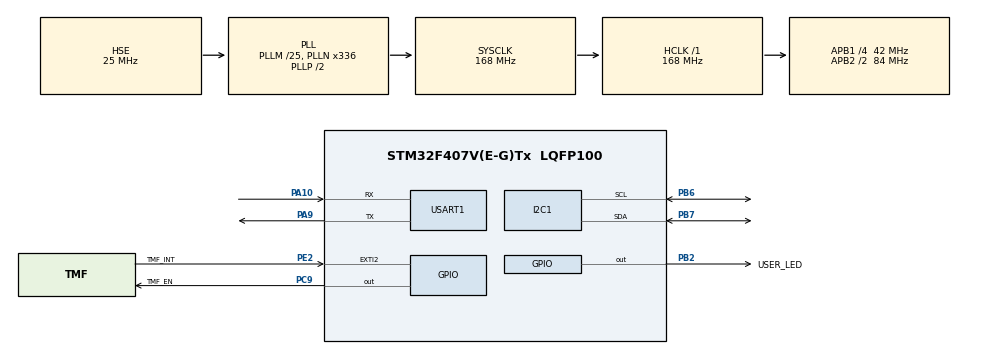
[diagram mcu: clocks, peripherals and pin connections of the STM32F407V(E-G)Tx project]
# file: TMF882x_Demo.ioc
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Mcu.Family=STM32F4
Mcu.Name=STM32F407V(E-G)Tx
Mcu.Package=LQFP100
NVIC.EXTI2_IRQn=true\:0\:0\:false\:false\:true\:true\:true\:true
NVIC.PriorityGroup=NVIC_PRIORITYGROUP_4
NVIC.TIM7_IRQn=true\:1\:0\:true\:false\:true\:true\:true\:true
PA10.Mode=Asynchronous
PA10.Signal=USART1_RX
PA13.Mode=Serial_Wire
PA13.Signal=SYS_JTMS-SWDIO
PA14.Mode=Serial_Wire
PA14.Signal=SYS_JTCK-SWCLK
PA9.Mode=Asynchronous
PA9.Signal=USART1_TX
PB2.GPIO_Label=USER_LED
PB2.Signal=GPIO_Output
PB6.Mode=I2C
PB6.Signal=I2C1_SCL
PB7.Mode=I2C
PB7.Signal=I2C1_SDA
PC9.GPIO_Label=TMF_EN
PC9.Signal=GPIO_Output
PE2.GPIO_Label=TMF_INT
PE2.GPIO_ModeDefaultEXTI=GPIO_MODE_IT_FALLING
PE2.GPIO_PuPd=GPIO_PULLUP
PE2.Signal=GPXTI2
PH0-OSC_IN.Mode=HSE-External-Oscillator
PH0-OSC_IN.Signal=RCC_OSC_IN
PH1-OSC_OUT.Mode=HSE-External-Oscillator
PH1-OSC_OUT.Signal=RCC_OSC_OUT
ProjectManager.HeapSize=0x200
ProjectManager.StackSize=0x400
ProjectManager.TargetToolchain=MDK-ARM V5
RCC.48MHZClocksFreq_Value=84000000
RCC.AHBFreq_Value=168000000
RCC.APB1CLKDivider=RCC_HCLK_DIV4
RCC.APB1Freq_Value=42000000
RCC.APB1TimFreq_Value=84000000
RCC.APB2CLKDivider=RCC_HCLK_DIV2
RCC.APB2Freq_Value=84000000
RCC.APB2TimFreq_Value=168000000
RCC.CortexFreq_Value=168000000
RCC.HCLKFreq_Value=168000000
RCC.HSE_VALUE=25000000
RCC.HSI_VALUE=16000000
RCC.LSE_VALUE=32768
RCC.PLLM=25
RCC.PLLN=336
RCC.PLLSourceVirtual=RCC_PLLSOURCE_HSE
RCC.SYSCLKFreq_VALUE=168000000
RCC.SYSCLKSource=RCC_SYSCLKSOURCE_PLLCLK
RCC.VCOOutputFreq_Value=336000000
TIM7.Period=99
TIM7.Prescaler=168
USART1.VirtualMode=VM_ASYNC
VP_TIM7_VS_ClockSourceINT.Mode=Enable_Timer
board=custom

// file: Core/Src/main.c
/* USER CODE BEGIN Header */
/**
  ******************************************************************************
  * @file           : main.c
  * @brief          : Main program body
  ******************************************************************************
  * @attention
  *
  * Copyright (c) 2025 STMicroelectronics.
  * All rights reserved.
  *
  * This software is licensed under terms that can be found in the LICENSE file
  * in the root directory of this software component.
  * If no LICENSE file comes with this software, it is provided AS-IS.
  *
  ******************************************************************************
  */
/* USER CODE END Header */
#include "main.h"
#include "i2c.h"
#include "tim.h"
#include "usart.h"
#include "gpio.h"

/* USER CODE BEGIN Includes */
#include "M_File_Flag.h"
/* USER CODE END Includes */

void SystemClock_Config(void);

int main(void)
{

  /* MCU Configuration--------------------------------------------------------*/

  /* Reset of all peripherals, Initializes the Flash interface and the Systick. */
  HAL_Init();

  /* Configure the system clock */
  SystemClock_Config();

  /* Initialize all configured peripherals */
  MX_GPIO_Init();
  MX_I2C1_Init();
  MX_TIM7_Init();
  MX_USART1_UART_Init();
  /* USER CODE BEGIN 2 */
  memset((void*)&systemTim,0,sizeof(System_Tim_Flag));
  HAL_TIM_Base_Start_IT(&htim7);
  TMF882x_Init();
  /* USER CODE END 2 */

  /* Infinite loop */
  /* USER CODE BEGIN WHILE */
  while (1)
  {
    if(systemTim.system_1ms == ON)
	  {

		 systemTim.system_1ms = OFF;
	  }
	  if(systemTim.system_10ms == ON)
	  {
		 systemTim.system_10ms = OFF;
		  read_measurement_results();
		  // TMF882x_Read();

	  }
	  if(systemTim.system_100ms == ON)
	  {

		 systemTim.system_100ms = OFF;
	  }

	  if(systemTim.system_500ms == ON)
	  {
		  systemTim.system_500ms = OFF;
		  HAL_Delay(6);
		  //readappid();
		  HAL_GPIO_TogglePin(USER_LED_GPIO_Port,USER_LED_Pin);
	  }
    /* USER CODE END WHILE */

  }
}

void SystemClock_Config(void)
{
  RCC_OscInitTypeDef RCC_OscInitStruct = {0};
  RCC_ClkInitTypeDef RCC_ClkInitStruct = {0};

  /** Configure the main internal regulator output voltage
  */
  __HAL_RCC_PWR_CLK_ENABLE();
  __HAL_PWR_VOLTAGESCALING_CONFIG(PWR_REGULATOR_VOLTAGE_SCALE1);

  /** Initializes the RCC Oscillators according to the specified parameters
  * in the RCC_OscInitTypeDef structure.
  */
  RCC_OscInitStruct.OscillatorType = RCC_OSCILLATORTYPE_HSE;
  RCC_OscInitStruct.HSEState = RCC_HSE_ON;
  RCC_OscInitStruct.PLL.PLLState = RCC_PLL_ON;
  RCC_OscInitStruct.PLL.PLLSource = RCC_PLLSOURCE_HSE;
  RCC_OscInitStruct.PLL.PLLM = 25;
  RCC_OscInitStruct.PLL.PLLN = 336;
  RCC_OscInitStruct.PLL.PLLP = RCC_PLLP_DIV2;
  RCC_OscInitStruct.PLL.PLLQ = 4;
  if (HAL_RCC_OscConfig(&RCC_OscInitStruct) != HAL_OK)
  {
    Error_Handler();
  }

  /** Initializes the CPU, AHB and APB buses clocks
  */
  RCC_ClkInitStruct.ClockType = RCC_CLOCKTYPE_HCLK|RCC_CLOCKTYPE_SYSCLK
                              |RCC_CLOCKTYPE_PCLK1|RCC_CLOCKTYPE_PCLK2;
  RCC_ClkInitStruct.SYSCLKSource = RCC_SYSCLKSOURCE_PLLCLK;
  RCC_ClkInitStruct.AHBCLKDivider = RCC_SYSCLK_DIV1;
  RCC_ClkInitStruct.APB1CLKDivider = RCC_HCLK_DIV4;
  RCC_ClkInitStruct.APB2CLKDivider = RCC_HCLK_DIV2;

  if (HAL_RCC_ClockConfig(&RCC_ClkInitStruct, FLASH_LATENCY_5) != HAL_OK)
  {
    Error_Handler();
  }
}

void Error_Handler(void)
{
  __disable_irq();
  while (1)
  {
  }
}
